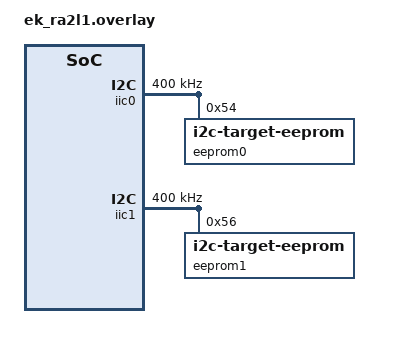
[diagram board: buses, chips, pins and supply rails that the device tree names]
/*
 * Copyright (c) 2025 Renesas Electronics Corporation
 *
 * SPDX-License-Identifier: Apache-2.0
 */

/* To test this sample, connect
 * SCL0 P408  -->  SCL1 P205
 * SDA0 P407  -->  SDA1 P206
 */

&pinctrl {
	iic0_default: iic0_default {
		group1 {
			/* SCL0 SDA0 */
			psels = <RA_PSEL(RA_PSEL_I2C, 4, 8)>,
				<RA_PSEL(RA_PSEL_I2C, 4, 7)>;
			drive-strength = "medium";
		};
	};

	iic1_default: iic1_default {
		group1 {
			/* SCL1 SDA1 */
			psels = <RA_PSEL(RA_PSEL_I2C, 2, 5)>,
				<RA_PSEL(RA_PSEL_I2C, 2, 6)>;
			drive-strength = "medium";
		};
	};
};

&iic0 {
	#address-cells = <1>;
	#size-cells = <0>;
	clock-frequency = <I2C_BITRATE_FAST>;
	pinctrl-0 = <&iic0_default>;
	pinctrl-names = "default";
	interrupts = <28 1>, <29 1>, <30 1>, <31 1>;
	interrupt-names = "rxi", "txi", "tei", "eri";
	status = "okay";

	eeprom0: eeprom@54 {
		compatible = "zephyr,i2c-target-eeprom";
		address-width = <8>;
		reg = <0x54>;
		size = <256>;
	};
};

&iic1 {
	#address-cells = <1>;
	#size-cells = <0>;
	clock-frequency = <I2C_BITRATE_FAST>;
	pinctrl-0 = <&iic1_default>;
	pinctrl-names = "default";
	interrupts = <24 1>, <25 1>, <20 1>, <21 1>;
	interrupt-names = "rxi", "txi", "tei", "eri";
	status = "okay";

	eeprom1: eeprom@56 {
		compatible = "zephyr,i2c-target-eeprom";
		reg = <0x56>;
		size = <256>;
	};
};
